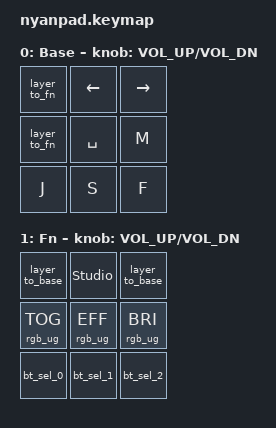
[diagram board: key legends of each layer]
#include <behaviors.dtsi>
#include <dt-bindings/zmk/keys.h>
#include <dt-bindings/zmk/bt.h>
#include <dt-bindings/zmk/outputs.h>
#include <dt-bindings/zmk/rgb.h>

#define BASE    0
#define FN      1


/ {
    macros {
        layer_to_fn: layer_to_fn {
            compatible = "zmk,behavior-macro";
            #binding-cells = <0>;
            wait-ms = <0>;
            tap-ms = <0>;
            bindings = <&macro_tap &to FN &rgb_ug RGB_COLOR_HSB(40, 100, 100)>;
        };

        layer_to_base: layer_to_base {
            compatible = "zmk,behavior-macro";
            #binding-cells = <0>;
            wait-ms = <0>;
            tap-ms = <0>;
            bindings = <&macro_tap &to BASE &rgb_ug RGB_COLOR_HSB(210, 100, 100)>;
        };

        bt_sel_0: bt_sel_0 {
            compatible = "zmk,behavior-macro";
            #binding-cells = <0>;
            wait-ms = <0>;
            tap-ms = <0>;
            bindings = <&macro_tap &bt BT_SEL 0 &rgb_ug RGB_COLOR_HSB(0, 100, 100)>;
        };

        bt_sel_1: bt_sel_1 {
            compatible = "zmk,behavior-macro";
            #binding-cells = <0>;
            wait-ms = <0>;
            tap-ms = <0>;
            bindings = <&macro_tap &bt BT_SEL 1 &rgb_ug RGB_COLOR_HSB(120, 100, 100)>;
        };

        bt_sel_2: bt_sel_2 {
            compatible = "zmk,behavior-macro";
            #binding-cells = <0>;
            wait-ms = <0>;
            tap-ms = <0>;
            bindings = <&macro_tap &bt BT_SEL 2 &rgb_ug RGB_COLOR_HSB(240, 100, 100)>;
        };
    };

	keymap {
		compatible = "zmk,keymap";
		/* sensor-bindings = <&inc_dec_kp C_VOL_UP C_VOL_DN>; */

		default_layer {
            display-name = "Base";

			bindings = <
                &layer_to_fn   &kp LEFT   &kp RIGHT
                &layer_to_fn  &kp SPACE   &kp M
				&kp J           &kp S   &kp F
			>;
            sensor-bindings = <&inc_dec_kp C_VOL_UP C_VOL_DN>;
		};

        fn_layer {
            /*
             * Function layer:
             *
             * |base | studio unlock | bt clear | 
             * |rgb toggle| rgb effect | rgb bright |
             * | bt 1| bt 2 | bt 3 | 
             */
            display-name = "Fn";
            bindings = <
                &layer_to_base      &studio_unlock          &layer_to_base
                &rgb_ug RGB_TOG &rgb_ug RGB_EFF &rgb_ug RGB_BRI
                &bt_sel_0 &bt_sel_1 &bt_sel_2
            >;

            sensor-bindings = <&inc_dec_kp C_VOL_UP C_VOL_DN>;
        };


        studio_extra_1 {
            /* Reserved for future ZMK Studio expansion. */
            status = "reserved";
        };

        studio_extra_2 {
            /* Reserved for future ZMK Studio expansion. */
            status = "reserved";
        };

        studio_extra_3 {
            /* Reserved for future ZMK Studio expansion. */
            status = "reserved";
        };
	};
};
